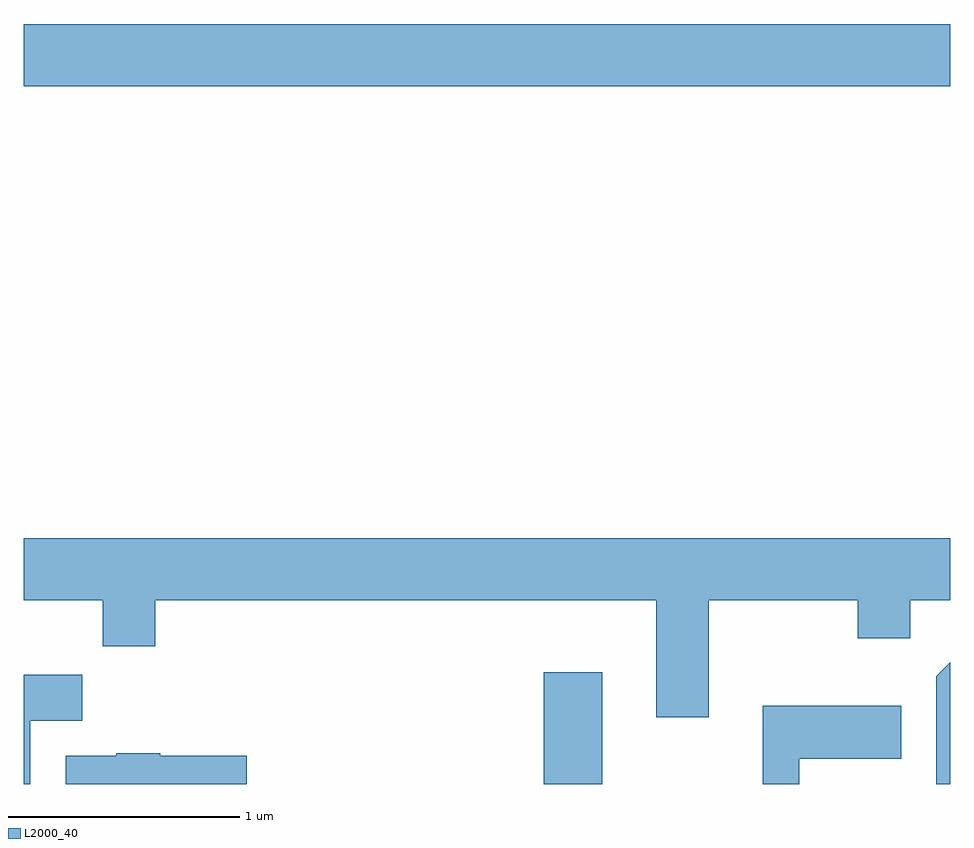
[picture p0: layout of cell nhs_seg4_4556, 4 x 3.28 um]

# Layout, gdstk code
import gdstk
lib = gdstk.Library(unit=1e-6, precision=1e-09)
def R(c, l, rs):  # rectangles x0, y0, x1, y1
    for r in rs: c.add(gdstk.rectangle(r[:2], r[2:], *l))
def P(c, l, *ps):  # polygons
    for p in ps: c.add(gdstk.Polygon(p, *l))
L2000_40 = (2000, 40)

nhs_seg4_4556 = lib.new_cell('nhs_seg4_4556')
R(nhs_seg4_4556, L2000_40, [(321.856,1253.982,322.109,1254.464), (319.611,1256.996,323.611,1257.264)])
P(nhs_seg4_4556, L2000_40, [(322.569,1254.776),(323.211,1254.776),(323.211,1254.611),(323.439,1254.611),(323.439,1254.776),(323.611,1254.776),(323.611,1255.044),(319.611,1255.044),(319.611,1254.776),(319.951,1254.776),(319.951,1254.576),(320.179,1254.576),(320.179,1254.776),(322.341,1254.776),(322.341,1254.271),(322.569,1254.271)],
  [(323.611,1254.507),(323.551,1254.447),(323.551,1253.982),(323.611,1253.982)],
  [(319.639,1254.256),(319.864,1254.256),(319.864,1254.454),(319.611,1254.454),(319.611,1253.982),(319.639,1253.982)],
  [(322.959,1254.091),(323.399,1254.091),(323.399,1254.319),(322.801,1254.319),(322.801,1253.982),(322.959,1253.982)],
  [(320.574,1254.104),(320.2,1254.104),(320.2,1254.114),(320.01,1254.114),(320.01,1254.104),(319.791,1254.104),(319.791,1253.982),(320.574,1253.982)])

lib.write_gds('nhs_seg4_4556.gds')
